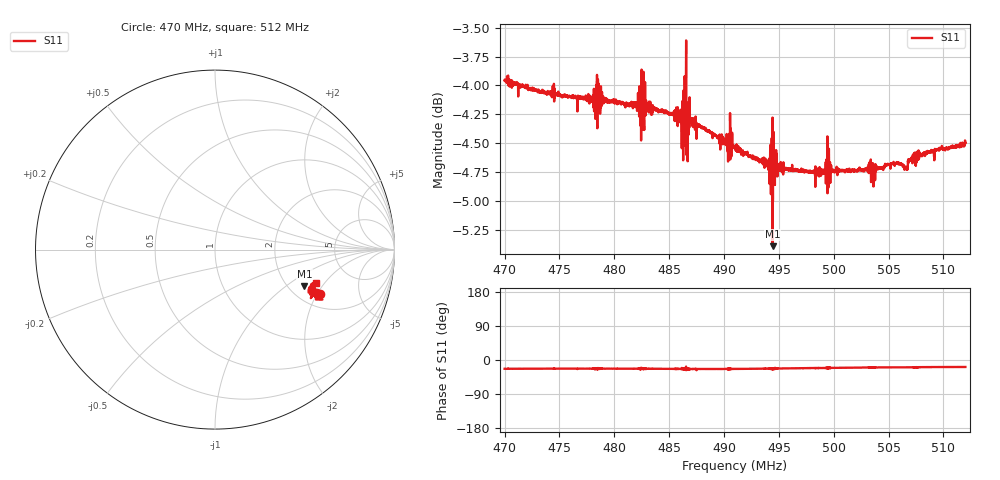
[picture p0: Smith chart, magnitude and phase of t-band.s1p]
! Calibrated averaged scanner-service zoom
# Hz S RI R 50
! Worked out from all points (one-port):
!   4001 points, 470 MHz to 512 MHz, reference 50 ohm
!   lowest |S11| = -5.4 dB at 494.4 MHz (marker M1), VSWR 3.32, Z = 121 - j69.2 ohm
!   |S11| at or under -10 dB: nowhere
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4.7e8  0.5831 -0.2495
4.7525e8  0.575 -0.2417
4.805e8  0.5723 -0.2413
4.82264e8  0.5621 -0.2415
4.82348e8  0.5696 -0.2482
4.82516e8  0.5869 -0.2414
4.826945e8  0.5607 -0.2459
4.8281e8  0.5725 -0.2422
4.8575e8  0.5643 -0.2415
4.86191e8  0.5511 -0.2413
4.862855e8  0.5653 -0.2518
4.86338e8  0.546 -0.2562
4.86695e8  0.5597 -0.2402
4.867685e8  0.5553 -0.2471
4.873775e8  0.5574 -0.2415
4.90517e8  0.5481 -0.2294
4.91e8  0.5441 -0.2359
4.939715e8  0.5385 -0.2248
4.944335e8  0.4978 -0.203
4.94843e8  0.5347 -0.218
4.9625e8  0.5385 -0.2169
5.015e8  0.5435 -0.2016
5.03768e8  0.5414 -0.1911
5.05259e8  0.5503 -0.1943
5.0654e8  0.5479 -0.1928
5.0675e8  0.5482 -0.1914
5.08031e8  0.5565 -0.1898
5.12e8  0.5654 -0.1882
